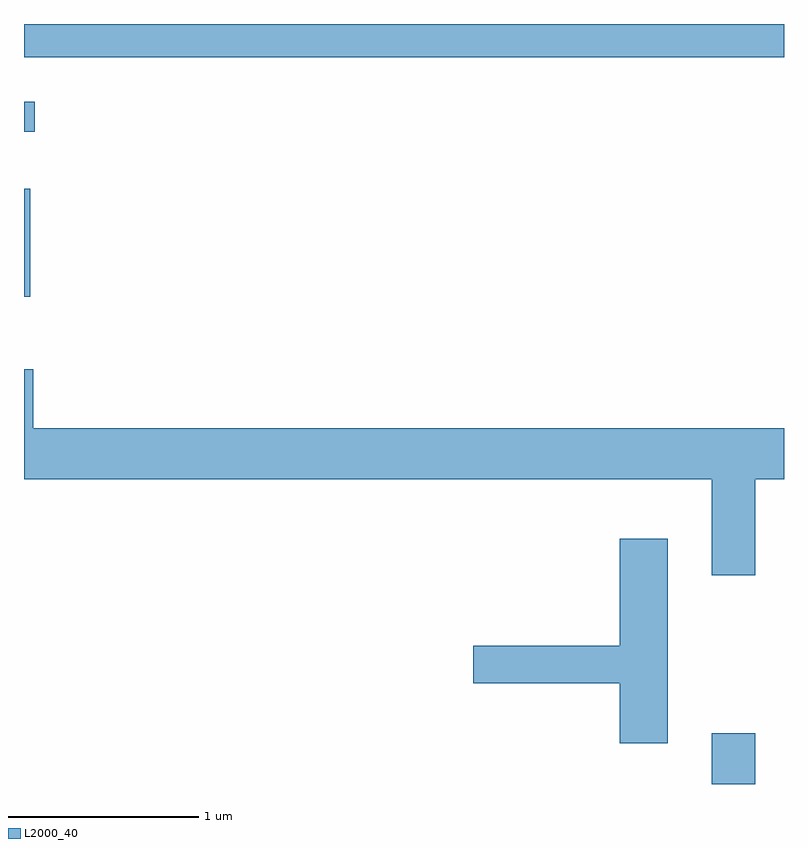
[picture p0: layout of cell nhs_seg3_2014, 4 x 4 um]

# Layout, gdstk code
import gdstk
lib = gdstk.Library(unit=1e-6, precision=1e-09)
def R(c, l, rs):  # rectangles x0, y0, x1, y1
    for r in rs: c.add(gdstk.rectangle(r[:2], r[2:], *l))
def P(c, l, *ps):  # polygons
    for p in ps: c.add(gdstk.Polygon(p, *l))
L2000_40 = (2000, 40)

nhs_seg3_2014 = lib.new_cell('nhs_seg3_2014')
R(nhs_seg3_2014, L2000_40, [(247.231,1199.892,247.459,1200.159), (243.611,1202.456,243.644,1203.024), (243.611,1203.326,243.668,1203.484), (243.611,1203.716,247.611,1203.892)])
P(nhs_seg3_2014, L2000_40, [(247.459,1201.496),(247.611,1201.496),(247.611,1201.764),(243.659,1201.764),(243.659,1202.074),(243.611,1202.074),(243.611,1201.496),(247.231,1201.496),(247.231,1200.991),(247.459,1200.991)],
  [(246.999,1201.184),(246.746,1201.184),(246.746,1200.619),(245.976,1200.619),(245.976,1200.421),(246.746,1200.421),(246.746,1200.106),(246.999,1200.106)])

lib.write_gds('nhs_seg3_2014.gds')
